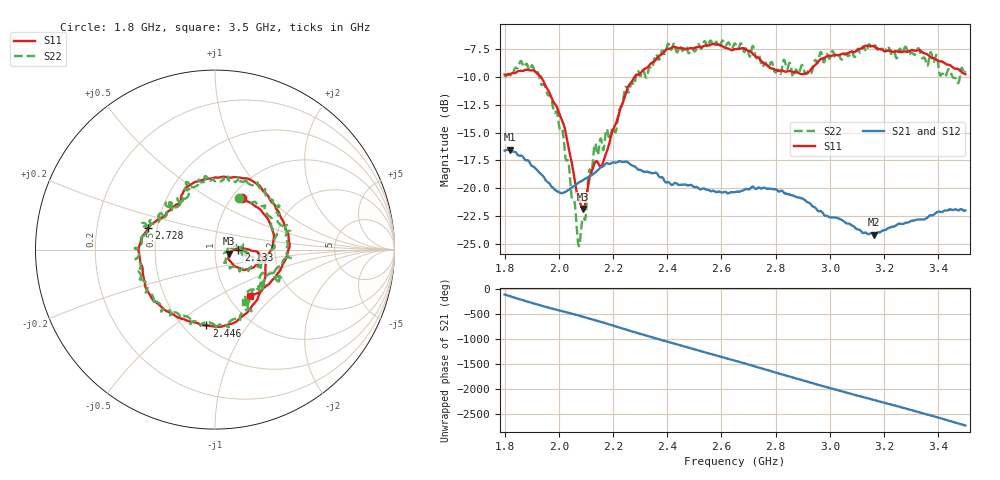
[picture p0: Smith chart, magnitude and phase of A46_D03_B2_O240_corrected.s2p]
! Created with skrf 1.9.0 (http://scikit-rf.org).
# Hz S RI R 50.0
!freq ReS11 ImS11 ReS21 ImS21 ReS12 ImS12 ReS22 ImS22
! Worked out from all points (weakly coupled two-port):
!   1601 points, 1.8 GHz to 3.5 GHz, reference 50 ohm
!   highest |S21| = -16.55 dB at 1.818 GHz (marker M1); lowest = -24.2 dB at 3.163 GHz (marker M2)
!   lowest |S11| = -21.9 dB at 2.09 GHz (marker M3), VSWR 1.18, Z = 58.4 - j2.6 ohm
!   |S11| at or under -10 dB: 1.934 GHz to 2.28 GHz (345.6 MHz wide, 16.4 % of centre)
!   |S22| runs from -25.2 to -6.7 dB; largest |S21 - S12| = 0.0026
!   S11 on the Smith chart (normalised r, x): 1.8 GHz: 1.12, +0.71; 2.133 GHz: 1.30, -0.01; 2.446 GHz: 0.64, -0.66; 2.728 GHz: 0.45, +0.13; 3.5 GHz: 1.25, -0.73
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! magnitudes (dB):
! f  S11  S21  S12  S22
! 1.8 GHz  -9.8  -16.6  -16.6  -9.9
! 1.818 GHz  -9.8  -16.5  -16.6  -9.8
! 1.903 GHz  -9.4  -18.0  -18.0  -9.0
! 1.968 GHz  -11.6  -19.7  -19.7  -11.6
! 2.014 GHz  -14.0  -20.4  -20.4  -14.8
! 2.071 GHz  -20.8  -19.5  -19.6  -24.9
! 2.084 GHz  -21.6  -19.4  -19.3  -23.3
! 2.09 GHz  -21.9  -19.3  -19.3  -22.6
! 2.133 GHz  -17.7  -18.6  -18.6  -16.0
! 2.162 GHz  -17.8  -18.1  -18.0  -16.5
! 2.209 GHz  -14.3  -17.7  -17.7  -15.0
! 2.26 GHz  -10.7  -17.8  -17.8  -11.3
! 2.367 GHz  -8.2  -18.9  -18.8  -8.4
! 2.446 GHz  -7.4  -19.7  -19.7  -7.3
! 2.65 GHz  -7.5  -20.3  -20.3  -7.0
! 2.728 GHz  -8.2  -20.1  -20.1  -8.3
! 2.934 GHz  -9.2  -21.6  -21.5  -9.6
! 3.163 GHz  -7.3  -24.2  -24.1  -7.2
! 3.217 GHz  -7.6  -23.6  -23.5  -7.4
! 3.327 GHz  -7.6  -22.8  -22.8  -7.4
! 3.469 GHz  -9.3  -21.9  -21.9  -10.4
! 3.5 GHz  -9.8  -22.0  -22.0  -9.5
